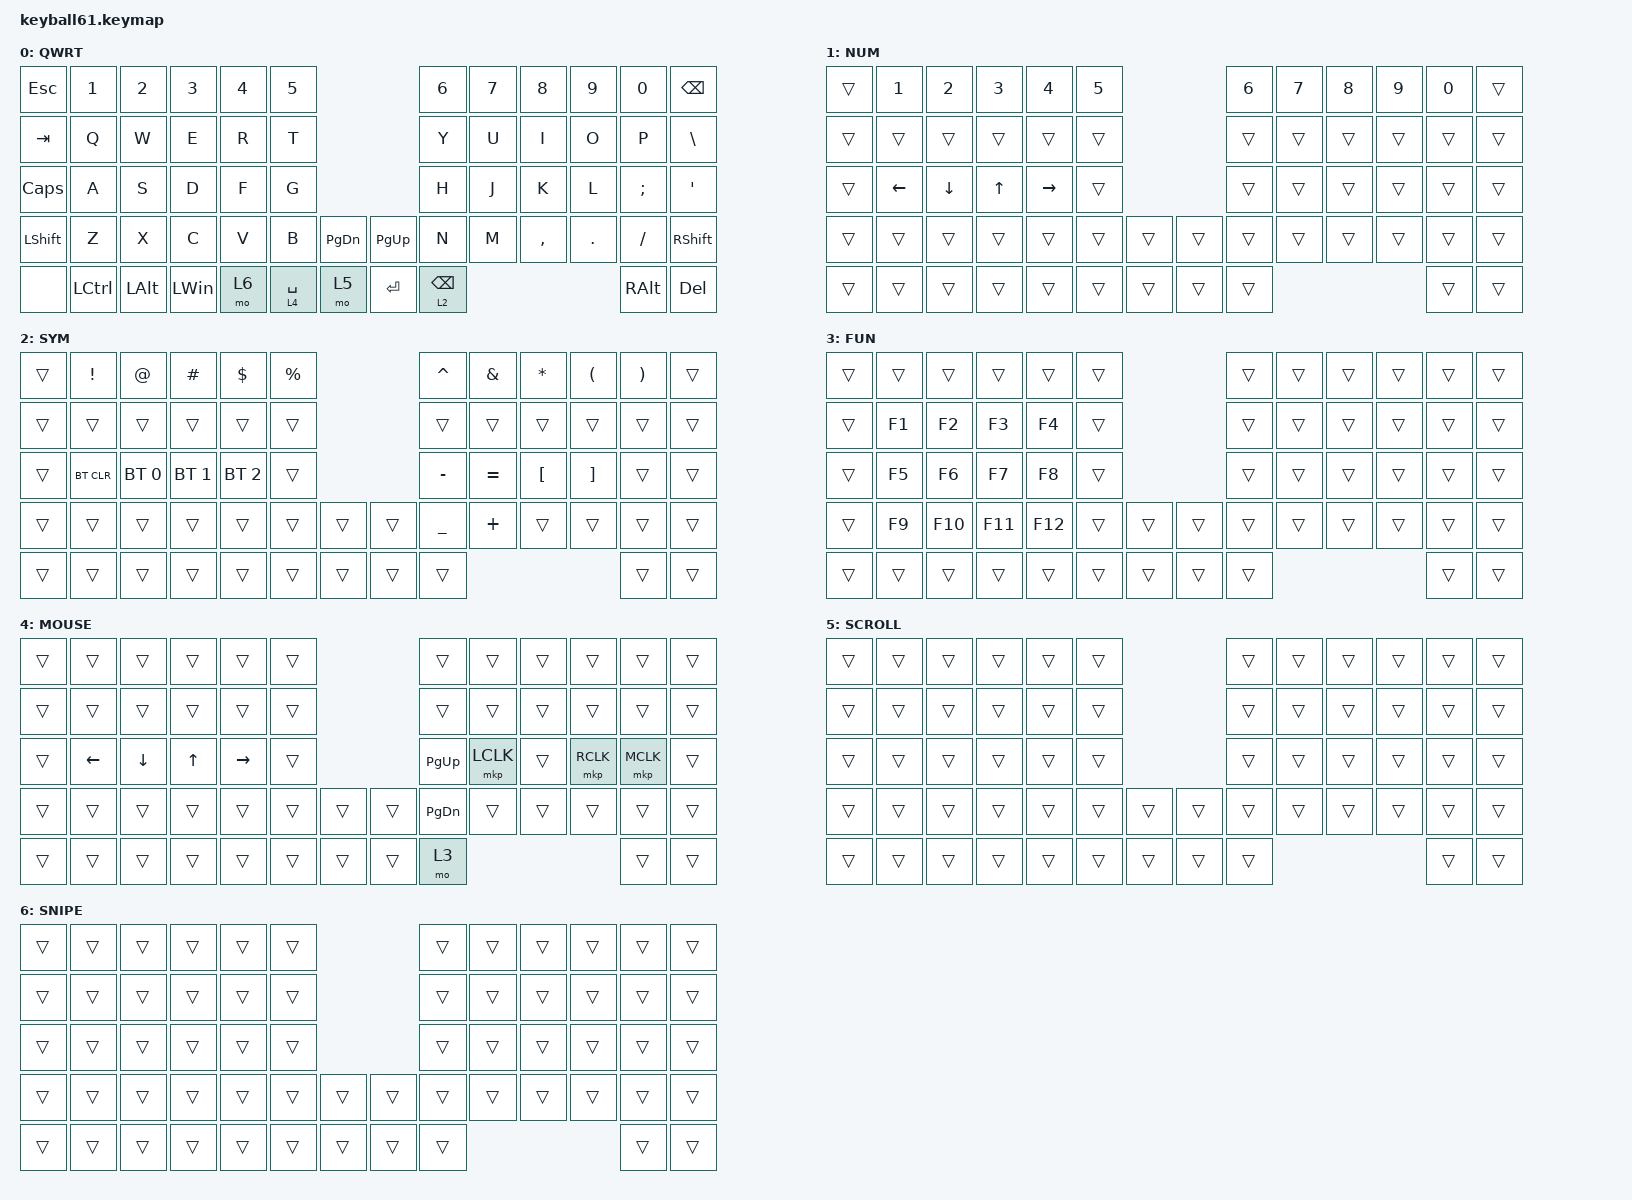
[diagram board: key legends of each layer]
#define DEFAULT 0
#define SYM     1
#define FUN     2
#define MOUSE   3
#define SCROLL  4
#define SNIPE   5

/* ======= 物理レイアウト（ZMK Studio）に必要なマクロ定義ファイルを読み込み ======= */
#include <dt-bindings/zmk/physical_layouts.h>

#include <behaviors/mouse_keys.dtsi>
#include <behaviors.dtsi>
#include <dt-bindings/zmk/bt.h>
#include <dt-bindings/zmk/keys.h>
#include <dt-bindings/zmk/mouse.h>

&lt {
    tapping-term-ms = <240>;
    flavor = "balanced";
    quick-tap-ms = <150>;
};

&mt {
    tapping-term-ms = <200>;
    flavor = "tap-preferred";
    quick-tap-ms = <150>;
};

/ {
    chosen {
        zmk,physical-layout = &keyball61_layout;
    };

    /* ======= 正しいZMK物理レイアウト構文（マクロ経由）に修正 ======= */
    keyball61_layout: keyball61_layout {
        compatible = "zmk,physical-layout";
        display-name = "Default Layout";
        transform = <&default_transform>; 
        kscan = <&kscan0>;
        
        /* ZMK公式が定義する「layout_point」マクロを使用して完全に適合させます */
        keys = 
            <&layout_point 0 0>, <&layout_point 0 1>, <&layout_point 0 2>, <&layout_point 0 3>, <&layout_point 0 4>, <&layout_point 0 5>,
            <&layout_point 1 0>, <&layout_point 1 1>, <&layout_point 1 2>, <&layout_point 1 3>, <&layout_point 1 4>, <&layout_point 1 5>,
            <&layout_point 2 0>, <&layout_point 2 1>, <&layout_point 2 2>, <&layout_point 2 3>, <&layout_point 2 4>, <&layout_point 2 5>,
            <&layout_point 3 0>, <&layout_point 3 1>, <&layout_point 3 2>, <&layout_point 3 3>, <&layout_point 3 4>, <&layout_point 3 5>,
            <&layout_point 4 0>, <&layout_point 4 1>, <&layout_point 4 2>, <&layout_point 4 3>, <&layout_point 4 4>, <&layout_point 4 5>,
            <&layout_point 5 0>, <&layout_point 5 1>, <&layout_point 5 2>, <&layout_point 5 3>, <&layout_point 5 4>, <&layout_point 5 5>,
            <&layout_point 6 0>, <&layout_point 6 1>, <&layout_point 6 2>, <&layout_point 6 3>, <&layout_point 6 4>, <&layout_point 6 5>,
            <&layout_point 7 0>, <&layout_point 7 1>, <&layout_point 7 2>, <&layout_point 7 3>, <&layout_point 7 4>, <&layout_point 7 5>,
            <&layout_point 8 0>, <&layout_point 8 1>, <&layout_point 8 2>, <&layout_point 8 3>, <&layout_point 8 4>, <&layout_point 8 5>,
            <&layout_point 9 0>, <&layout_point 9 1>, <&layout_point 9 2>, <&layout_point 9 3>, <&layout_point 9 4>, <&layout_point 9 5>,
            <&layout_point 10 0>;
    };

    keymap {
        compatible = "zmk,keymap";

        default_layer {
            label = "QWRT";
            bindings = <
&kp ESC         &kp N1     &kp N2        &kp N3        &kp N4  &kp N5                                   &kp N6           &kp N7  &kp N8     &kp N9   &kp N0         &kp BSPC
&kp TAB         &kp Q      &kp W         &kp E         &kp R   &kp T                                    &kp Y            &kp U   &kp I      &kp O    &kp P          &kp BACKSLASH
&kp CAPS        &kp A      &kp S         &kp D         &kp F   &kp G                                    &kp H            &kp J   &kp K      &kp L    &kp SEMI       &kp SQT
&kp LEFT_SHIFT  &kp Z      &kp X         &kp C         &kp V   &kp B        &kp PAGE_DOWN  &kp PAGE_UP  &kp N            &kp M   &kp COMMA  &kp DOT  &kp FSLH       &kp RIGHT_SHIFT
&none           &kp LCTRL  &kp LEFT_ALT  &kp LEFT_WIN  &mo 6   &lt 4 SPACE  &mo 5          &kp ENTER    &lt 2 BACKSPACE                              &kp RIGHT_ALT  &kp DELETE
            >;
        };

        number_layer {
            label = "NUM";
            bindings = <
&trans  &kp N1    &kp N2    &kp N3  &kp N4     &kp N5                  &kp N6  &kp N7  &kp N8  &kp N9  &kp N0  &trans
&trans  &trans    &trans    &trans  &trans     &trans                  &trans  &trans  &trans  &trans  &trans  &trans
&trans  &kp LEFT  &kp DOWN  &kp UP  &kp RIGHT  &trans                  &trans  &trans  &trans  &trans  &trans  &trans
&trans  &trans    &trans    &trans  &trans     &trans  &trans  &trans  &trans  &trans  &trans  &trans  &trans  &trans
&trans  &trans    &trans    &trans  &trans     &trans  &trans  &trans  &trans                          &trans  &trans
            >;
        };

        symbol_layer {
            label = "SYM";
            bindings = <
&trans  &kp EXCLAMATION  &kp AT_SIGN   &kp HASH      &kp DOLLAR    &kp PERCENT                  &kp CARET       &kp AMPERSAND  &kp ASTERISK      &kp LEFT_PARENTHESIS  &kp RIGHT_PARENTHESIS  &trans
&trans  &trans           &trans        &trans        &trans        &trans                       &trans          &trans         &trans            &trans                &trans                 &trans
&trans  &bt BT_CLR       &bt BT_SEL 0  &bt BT_SEL 1  &bt BT_SEL 2  &trans                       &kp MINUS       &kp EQUAL      &kp LEFT_BRACKET  &kp RIGHT_BRACKET     &trans                 &trans
&trans  &trans           &trans        &trans        &trans        &trans       &trans  &trans  &kp UNDERSCORE  &kp PLUS       &trans            &trans                &trans                 &trans
&trans  &trans           &trans        &trans        &trans        &trans       &trans  &trans  &trans                                                                 &trans                 &trans
            >;
        };

        function_layer {
            label = "FUN";
            bindings = <
&trans  &trans  &trans   &trans   &trans   &trans                  &trans  &trans  &trans  &trans  &trans  &trans
&trans  &kp F1  &kp F2   &kp F3   &kp F4   &trans                  &trans  &trans  &trans  &trans  &trans  &trans
&trans  &kp F5  &kp F6   &kp F7   &kp F8   &trans                  &trans  &trans  &trans  &trans  &trans  &trans
&trans  &kp F9  &kp F10  &kp F11  &kp F12  &trans  &trans  &trans  &trans  &trans  &trans  &trans  &trans  &trans
&trans  &trans  &trans   &trans   &trans   &trans  &trans  &trans  &trans                          &trans  &trans
            >;
        };

        mouse_layer {
            label = "MOUSE";
            bindings = <
&trans  &trans    &trans    &trans  &trans     &trans                  &trans         &trans     &trans  &trans     &trans     &trans
&trans  &trans    &trans    &trans  &trans     &trans                  &trans         &trans     &trans  &trans     &trans     &trans
&trans  &kp LEFT  &kp DOWN  &kp UP  &kp RIGHT  &trans                  &kp PAGE_UP    &mkp LCLK  &trans  &mkp RCLK  &mkp MCLK  &trans
&trans  &trans    &trans    &trans  &trans     &trans  &trans  &trans  &kp PAGE_DOWN  &trans     &trans  &trans     &trans     &trans
&trans  &trans    &trans    &trans  &trans     &trans  &trans  &trans  &mo 3                                        &trans     &trans
            >;
        };

        scroll_layer {
            label = "SCROLL";
            bindings = <
&trans  &trans  &trans  &trans  &trans  &trans                  &trans  &trans  &trans  &trans  &trans  &trans
&trans  &trans  &trans  &trans  &trans  &trans                  &trans  &trans  &trans  &trans  &trans  &trans
&trans  &trans  &trans  &trans  &trans  &trans                  &trans  &trans  &trans  &trans  &trans  &trans
&trans  &trans  &trans  &trans  &trans  &trans  &trans  &trans  &trans  &trans  &trans  &trans  &trans  &trans
&trans  &trans  &trans  &trans  &trans  &trans  &trans  &trans  &trans                          &trans  &trans
            >;
        };

        snipe_layer {
            label = "SNIPE";
            bindings = <
&trans  &trans  &trans  &trans  &trans  &trans                  &trans  &trans  &trans  &trans  &trans  &trans
&trans  &trans  &trans  &trans  &trans  &trans                  &trans  &trans  &trans  &trans  &trans  &trans
&trans  &trans  &trans  &trans  &trans  &trans                  &trans  &trans  &trans  &trans  &trans  &trans
&trans  &trans  &trans  &trans  &trans  &trans  &trans  &trans  &trans  &trans  &trans  &trans  &trans  &trans
&trans  &trans  &trans  &trans  &trans  &trans  &trans  &trans  &trans                          &trans  &trans
            >;
        };
    };
};
